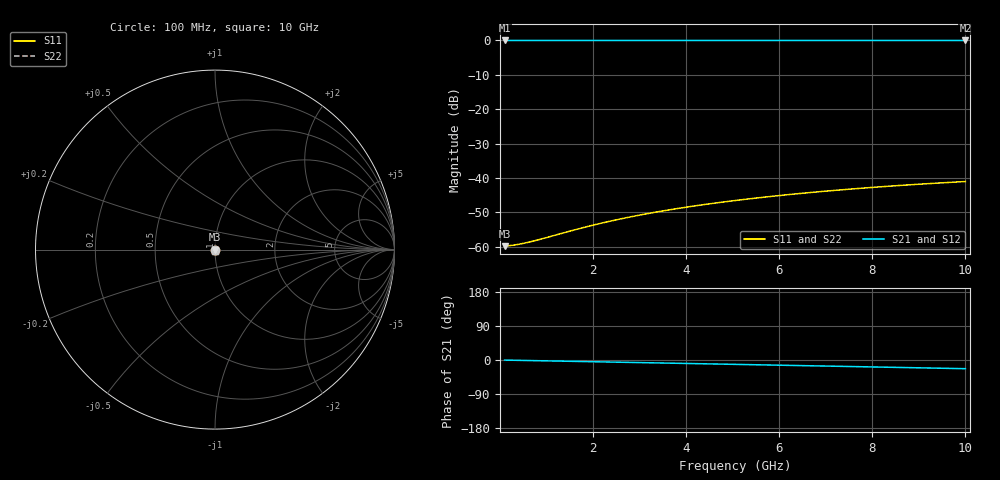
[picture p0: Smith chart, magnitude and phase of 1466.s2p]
# Hz S RI R 50.00
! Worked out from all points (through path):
!   100 points, 100 MHz to 10 GHz, reference 50 ohm
!   highest |S21| = -0.01 dB at 100 MHz (marker M1); lowest = 0.0 dB at 10 GHz (marker M2)
!   group delay of S21, straight-line fit = 6.37 ps
!   lowest |S11| = -59.8 dB at 100 MHz (marker M3), VSWR 1.00, Z = 50.1 - j0.00927 ohm
!   |S11| at or under -10 dB: start of sweep to end of sweep
!   |S22| runs from -59.8 to -41.0 dB; largest |S21 - S12| = 0
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1e8  0.00102 -9.25e-05  0.999 -0.00396  0.999 -0.00396  0.00102 -9.25e-05
3e8  0.00103 -0.000278  0.9989 -0.0119  0.9989 -0.0119  0.00103 -0.000278
4e8  0.00103 -0.000371  0.9988 -0.0158  0.9988 -0.0158  0.00103 -0.000371
6e8  0.00102 -0.000556  0.9987 -0.0238  0.9987 -0.0238  0.00102 -0.000556
9e8  0.00101 -0.000836  0.9983 -0.0356  0.9983 -0.0356  0.00101 -0.000836
1.5e9  0.000955 -0.0014  0.9971 -0.0594  0.9971 -0.0594  0.000955 -0.0014
1.8e9  0.000918 -0.00168  0.9963 -0.0713  0.9963 -0.0713  0.000918 -0.00168
2.2e9  0.000858 -0.00206  0.9951 -0.0871  0.9951 -0.0871  0.000858 -0.00206
2.6e9  0.000786 -0.00243  0.9935 -0.1029  0.9935 -0.1029  0.000786 -0.00243
3e9  0.0007 -0.00281  0.9918 -0.1187  0.9918 -0.1187  0.0007 -0.00281
3.4e9  0.000603 -0.00319  0.9897 -0.1345  0.9897 -0.1345  0.000603 -0.00319
3.8e9  0.000493 -0.00356  0.9874 -0.1503  0.9874 -0.1503  0.000493 -0.00356
4.2e9  0.000372 -0.00393  0.9849 -0.166  0.9849 -0.166  0.000372 -0.00393
4.6e9  0.000238 -0.0043  0.9821 -0.1818  0.9821 -0.1818  0.000238 -0.0043
5.1e9  5.4e-05 -0.00476  0.9783 -0.2014  0.9783 -0.2014  5.4e-05 -0.00476
5.5e9  -0.000106 -0.00512  0.9749 -0.217  0.9749 -0.217  -0.000106 -0.00512
5.9e9  -0.000277 -0.00547  0.9713 -0.2326  0.9713 -0.2326  -0.000277 -0.00547
6.7e9  -0.000652 -0.00616  0.9633 -0.2637  0.9633 -0.2637  -0.000652 -0.00616
7.5e9  -0.00107 -0.00681  0.9543 -0.2945  0.9543 -0.2945  -0.00107 -0.00681
8.4e9  -0.00157 -0.00749  0.9429 -0.329  0.9429 -0.329  -0.00157 -0.00749
9.2e9  -0.00206 -0.00804  0.9317 -0.3593  0.9317 -0.3593  -0.00206 -0.00804
1e10  -0.00257 -0.00853  0.9196 -0.3893  0.9196 -0.3893  -0.00257 -0.00853
